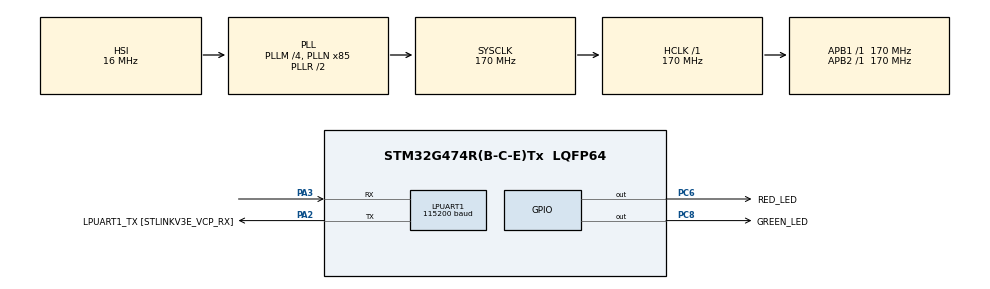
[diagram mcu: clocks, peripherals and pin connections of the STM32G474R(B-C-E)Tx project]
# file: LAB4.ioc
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LPUART1.BaudRate=115200
Mcu.Family=STM32G4
Mcu.Name=STM32G474R(B-C-E)Tx
Mcu.Package=LQFP64
NVIC.PriorityGroup=NVIC_PRIORITYGROUP_4
PA13.GPIO_Label=T_SWDIO
PA13.Mode=Serial_Wire
PA13.Signal=SYS_JTMS-SWDIO
PA14.GPIO_Label=T_SWCLK
PA14.Mode=Serial_Wire
PA14.Signal=SYS_JTCK-SWCLK
PA2.GPIO_Label=LPUART1_TX [STLINKV3E_VCP_RX]
PA2.Mode=Asynchronous
PA2.Signal=LPUART1_TX
PA3.Mode=Asynchronous
PA3.Signal=LPUART1_RX
PB3.GPIO_Label=T_SWO
PB3.Signal=SYS_JTDO-SWO
PC14-OSC32_IN.GPIO_Label=RCC_OSC32_IN
PC14-OSC32_IN.Signal=RCC_OSC32_IN
PC15-OSC32_OUT.GPIO_Label=RCC_OSC32_OUT
PC15-OSC32_OUT.Signal=RCC_OSC32_OUT
PC6.GPIO_Label=RED_LED
PC6.Signal=GPIO_Output
PC8.GPIO_Label=GREEN_LED
PC8.Signal=GPIO_Output
PF0-OSC_IN.GPIO_Label=RCC_OSC_IN
PF0-OSC_IN.Signal=RCC_OSC_IN
PF1-OSC_OUT.GPIO_Label=RCC_OSC_OUT
PF1-OSC_OUT.Signal=RCC_OSC_OUT
ProjectManager.HeapSize=0x200
ProjectManager.StackSize=0x400
ProjectManager.TargetToolchain=STM32CubeIDE
RCC.ADC12Freq_Value=170000000
RCC.ADC345Freq_Value=170000000
RCC.AHBFreq_Value=170000000
RCC.APB1Freq_Value=170000000
RCC.APB1TimFreq_Value=170000000
RCC.APB2Freq_Value=170000000
RCC.APB2TimFreq_Value=170000000
RCC.CortexFreq_Value=170000000
RCC.EXTERNAL_CLOCK_VALUE=12288000
RCC.HCLKFreq_Value=170000000
RCC.HSE_VALUE=24000000
RCC.HSI48_VALUE=48000000
RCC.HSI_VALUE=16000000
RCC.LSE_VALUE=32768
RCC.PLLM=RCC_PLLM_DIV4
RCC.PLLN=85
RCC.RTCClockSelection=RCC_RTCCLKSOURCE_LSE
RCC.SYSCLKFreq_VALUE=170000000
RCC.SYSCLKSource=RCC_SYSCLKSOURCE_PLLCLK
RCC.USBFreq_Value=170000000
RCC.VCOOutputFreq_Value=340000000
VP_SYS_VS_DBSignals.Mode=DisableDeadBatterySignals
board=NUCLEO-G474RE

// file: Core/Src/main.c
/* USER CODE BEGIN Header */
/**
  ******************************************************************************
  * @file           : main.c
  * @brief          : Main program body
  ******************************************************************************
  * @attention
  *
  * Copyright (c) 2026 STMicroelectronics.
  * All rights reserved.
  *
  * This software is licensed under terms that can be found in the LICENSE file
  * in the root directory of this software component.
  * If no LICENSE file comes with this software, it is provided AS-IS.
  *
  ******************************************************************************
  */
/* USER CODE END Header */
#include "main.h"

/* USER CODE BEGIN Includes */

#include <string.h>

/* USER CODE END Includes */

UART_HandleTypeDef hlpuart1;

/* USER CODE BEGIN PV */

static uint8_t rxByte;
static char lineBuffer[32];
static uint32_t lineLength = 0U;

/* USER CODE END PV */

void SystemClock_Config(void);
static void MX_GPIO_Init(void);
static void MX_LPUART1_UART_Init(void);
/* USER CODE BEGIN PFP */

static void ProcessReceivedByte(uint8_t data); // 把字元湊成一句話
static void ExecuteCommand(const char *command); //ExecuteCommand 去執行

/* USER CODE END PFP */

/* USER CODE BEGIN 0 */

static void ExecuteCommand(const char *command)
{
if (strcmp(command, "GREEN ON") == 0)
HAL_GPIO_WritePin(GPIOC, GPIO_PIN_8, GPIO_PIN_SET);
else if (strcmp(command, "GREEN OFF") == 0)
HAL_GPIO_WritePin(GPIOC, GPIO_PIN_8, GPIO_PIN_RESET);
else if (strcmp(command, "RED ON") == 0)
HAL_GPIO_WritePin(GPIOC, GPIO_PIN_6, GPIO_PIN_SET);
else if (strcmp(command, "RED OFF") == 0)
HAL_GPIO_WritePin(GPIOC, GPIO_PIN_6, GPIO_PIN_RESET);
}

static void ProcessReceivedByte(uint8_t data)
{
if (data == '\r') return;
if (data == '\n')
{
lineBuffer[lineLength] = '\0';
ExecuteCommand(lineBuffer);
lineLength = 0U;
}
else if (lineLength < sizeof(lineBuffer) - 1U)
{
lineBuffer[lineLength++] = (char)data;
}
}

/* USER CODE END 0 */

int main(void)
{

  /* MCU Configuration--------------------------------------------------------*/

  /* Reset of all peripherals, Initializes the Flash interface and the Systick. */
  HAL_Init();

  /* Configure the system clock */
  SystemClock_Config();

  /* Initialize all configured peripherals */
  MX_GPIO_Init();
  MX_LPUART1_UART_Init();
  /* USER CODE BEGIN 2 */
  uint8_t startupMessage[] =
  "HELLO WORLD\r\n";
  if (HAL_UART_Transmit(
  &hlpuart1,
  startupMessage,
  sizeof(startupMessage) - 1U,
  100U) != HAL_OK)
  {
  Error_Handler();
  }
  /* USER CODE END 2 */

  /* Infinite loop */
  while (1)
  {

    /* USER CODE BEGIN 3 */

	  if (HAL_UART_Receive(&hlpuart1, &rxByte,
	  1U, HAL_MAX_DELAY) == HAL_OK)
	  {
	  ProcessReceivedByte(rxByte);
	  }
  }
  /* USER CODE END 3 */
}

void SystemClock_Config(void)
{
  RCC_OscInitTypeDef RCC_OscInitStruct = {0};
  RCC_ClkInitTypeDef RCC_ClkInitStruct = {0};

  /** Configure the main internal regulator output voltage
  */
  HAL_PWREx_ControlVoltageScaling(PWR_REGULATOR_VOLTAGE_SCALE1_BOOST);

  /** Initializes the RCC Oscillators according to the specified parameters
  * in the RCC_OscInitTypeDef structure.
  */
  RCC_OscInitStruct.OscillatorType = RCC_OSCILLATORTYPE_HSI;
  RCC_OscInitStruct.HSIState = RCC_HSI_ON;
  RCC_OscInitStruct.HSICalibrationValue = RCC_HSICALIBRATION_DEFAULT;
  RCC_OscInitStruct.PLL.PLLState = RCC_PLL_ON;
  RCC_OscInitStruct.PLL.PLLSource = RCC_PLLSOURCE_HSI;
  RCC_OscInitStruct.PLL.PLLM = RCC_PLLM_DIV4;
  RCC_OscInitStruct.PLL.PLLN = 85;
  RCC_OscInitStruct.PLL.PLLP = RCC_PLLP_DIV2;
  RCC_OscInitStruct.PLL.PLLQ = RCC_PLLQ_DIV2;
  RCC_OscInitStruct.PLL.PLLR = RCC_PLLR_DIV2;
  if (HAL_RCC_OscConfig(&RCC_OscInitStruct) != HAL_OK)
  {
    Error_Handler();
  }

  /** Initializes the CPU, AHB and APB buses clocks
  */
  RCC_ClkInitStruct.ClockType = RCC_CLOCKTYPE_HCLK|RCC_CLOCKTYPE_SYSCLK
                              |RCC_CLOCKTYPE_PCLK1|RCC_CLOCKTYPE_PCLK2;
  RCC_ClkInitStruct.SYSCLKSource = RCC_SYSCLKSOURCE_PLLCLK;
  RCC_ClkInitStruct.AHBCLKDivider = RCC_SYSCLK_DIV1;
  RCC_ClkInitStruct.APB1CLKDivider = RCC_HCLK_DIV1;
  RCC_ClkInitStruct.APB2CLKDivider = RCC_HCLK_DIV1;

  if (HAL_RCC_ClockConfig(&RCC_ClkInitStruct, FLASH_LATENCY_4) != HAL_OK)
  {
    Error_Handler();
  }
}

static void MX_LPUART1_UART_Init(void)
{

  hlpuart1.Instance = LPUART1;
  hlpuart1.Init.BaudRate = 115200;
  hlpuart1.Init.WordLength = UART_WORDLENGTH_8B;
  hlpuart1.Init.StopBits = UART_STOPBITS_1;
  hlpuart1.Init.Parity = UART_PARITY_NONE;
  hlpuart1.Init.Mode = UART_MODE_TX_RX;
  hlpuart1.Init.HwFlowCtl = UART_HWCONTROL_NONE;
  hlpuart1.Init.OneBitSampling = UART_ONE_BIT_SAMPLE_DISABLE;
  hlpuart1.Init.ClockPrescaler = UART_PRESCALER_DIV1;
  hlpuart1.AdvancedInit.AdvFeatureInit = UART_ADVFEATURE_NO_INIT;
  if (HAL_UART_Init(&hlpuart1) != HAL_OK)
  {
    Error_Handler();
  }
  if (HAL_UARTEx_SetTxFifoThreshold(&hlpuart1, UART_TXFIFO_THRESHOLD_1_8) != HAL_OK)
  {
    Error_Handler();
  }
  if (HAL_UARTEx_SetRxFifoThreshold(&hlpuart1, UART_RXFIFO_THRESHOLD_1_8) != HAL_OK)
  {
    Error_Handler();
  }
  if (HAL_UARTEx_DisableFifoMode(&hlpuart1) != HAL_OK)
  {
    Error_Handler();
  }

}

static void MX_GPIO_Init(void)
{
  GPIO_InitTypeDef GPIO_InitStruct = {0};

  /* GPIO Ports Clock Enable */
  __HAL_RCC_GPIOC_CLK_ENABLE();
  __HAL_RCC_GPIOF_CLK_ENABLE();
  __HAL_RCC_GPIOA_CLK_ENABLE();
  __HAL_RCC_GPIOB_CLK_ENABLE();

  /*Configure GPIO pin Output Level */
  HAL_GPIO_WritePin(GPIOC, RED_LED_Pin|GREEN_LED_Pin, GPIO_PIN_RESET);

  /*Configure GPIO pins : RED_LED_Pin GREEN_LED_Pin */
  GPIO_InitStruct.Pin = RED_LED_Pin|GREEN_LED_Pin;
  GPIO_InitStruct.Mode = GPIO_MODE_OUTPUT_PP;
  GPIO_InitStruct.Pull = GPIO_NOPULL;
  GPIO_InitStruct.Speed = GPIO_SPEED_FREQ_LOW;
  HAL_GPIO_Init(GPIOC, &GPIO_InitStruct);

}

void Error_Handler(void)
{
  __disable_irq();
  while (1)
  {
  }
}
